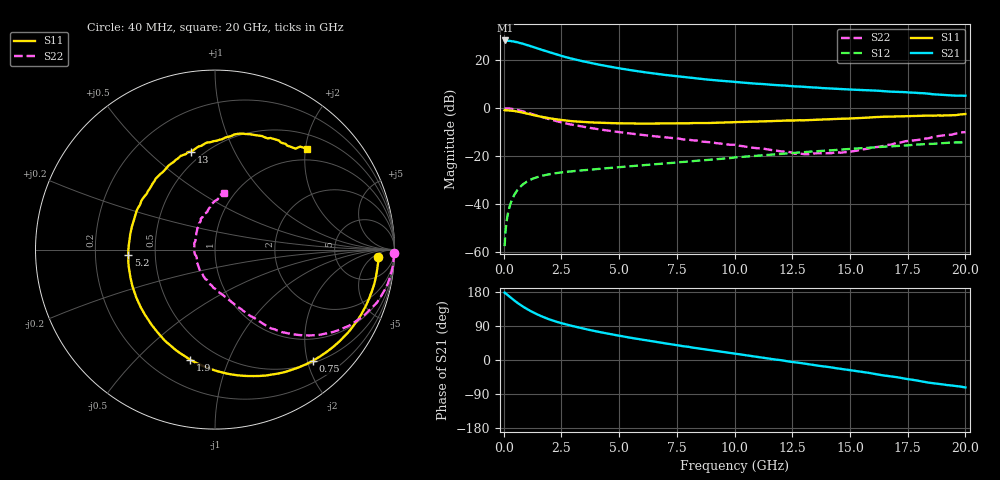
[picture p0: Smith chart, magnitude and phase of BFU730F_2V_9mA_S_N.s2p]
! Filename:  P:\Prog\Test\Noise\ATS_data\Testdata_Net\BFU730\BFU730_2W_B1_2V9mA_D.s2p
! Date/Time: Fri 29/Apr/2011 14:14:07
! BFU730_2W_B1_2V9mA
! bias mode 1: Vout= 2.0001 V, Iout= 9.0050 mA, Vin= 0.8011 V, Iin= 0.0279 mA
! Date/time Wed Mar 16 17:04:01 2011
! Device data file deembeded for feedlines and parallel
! Original file: \BFU730\BFU730_2W_B1_2V9mA_R.s2p
! Feed-files: PR003V01_101208_Feed1.s2p, PR003V01_101208_Feed2.s2p
! Parallel-file: PR003V01_101208_Par.s2p
# MHz S MA R 50
!  Freq-MHz  S11-mag  S11-arg  S21-mag  S21-arg  S12-mag  S12-arg  S22-mag  S22-arg
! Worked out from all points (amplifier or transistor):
!   167 points, 40 MHz to 20 GHz, reference 50 ohm
!   highest |S21| = 28.2 dB at 50 MHz (marker M1)
!   |S21| within 3 dB of that: start of sweep to 1.373 GHz
!   unconditionally stable (mu >= 1): 5.839 GHz to 15.93 GHz
!   at 550 MHz: K = 0.11, MSG = 31.1 dB, |S12| = -34.7 dB
!   at 4.2 GHz: K = 0.81, MSG = 21.6 dB, |S12| = -25.1 dB
!   at 20 GHz: K = 0.85, MSG = 9.7 dB, |S12| = -14.1 dB
!   lowest NFmin = 0.57 dB at 400 MHz
!   S11 on the Smith chart (normalised r, x): 40 MHz: 17, -9; 750 MHz: 0.54, -2.10; 1.9 GHz: 0.36, -0.73; 5.2 GHz: 0.35, -0.03; 13 GHz: 0.43, +0.69; 20 GHz: 0.77, +2.03
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40  0.9114 -2.7  25.65 177.9  0.001353 87.4  0.9961 -1.2
50  0.9064 -3.6  25.72 176.9  0.001661 71.7  0.9961 -1.7
60  0.9109 -3.8  25.4 176.6  0.001883 88.5  0.9971 -2.0
80  0.911 -5.3  25.64 175.9  0.002782 87.0  0.9971 -2.8
240  0.9021 -16.2  25.33 167.7  0.008403 82.2  0.987 -9.1
420  0.8812 -28.2  24.6 158.9  0.01448 75.7  0.9604 -15.8
600  0.8522 -39.7  23.59 150.7  0.01997 69.5  0.9207 -22.1
750  0.8252 -48.7  22.5 144.4  0.02398 64.7  0.8818 -26.8
950  0.7864 -60.1  21.1 136.7  0.0286 59.3  0.8285 -32.3
1200  0.7368 -73.0  19.38 128.1  0.0333 53.5  0.7634 -38.1
1550  0.6773 -89.0  17.07 117.7  0.03816 47.3  0.6788 -44.6
1900  0.6283 -102.7  15.07 109.0  0.04173 42.7  0.6081 -49.7
2500  0.5688 -122.1  12.27 97.3  0.04633 37.6  0.5084 -56.1
3400  0.5198 -144.2  9.568 83.6  0.05119 33.2  0.4174 -62.1
4200  0.4978 -160.2  7.954 73.2  0.05529 31.2  0.3601 -66.5
5200  0.484 -176.7  6.53 61.9  0.06061 29.1  0.3102 -72.0
6800  0.4803 162.1  5.076 45.9  0.06976 26.5  0.2541 -80.9
10200  0.5173 127.7  3.478 14.9  0.09631 18.4  0.166 -110.8
13000  0.5618 103.6  2.788 -9.3  0.1217 7.0  0.1112 -156.6
13400  0.5736 100.8  2.71 -12.9  0.1264 5.0  0.1145 -166.6
16800  0.6715 73.3  2.212 -43.3  0.1614 -12.7  0.1763 116.9
20000  0.7592 47.6  1.821 -72.6  0.1967 -33.5  0.3208 81.3
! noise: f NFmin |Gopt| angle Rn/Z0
400  0.5682  0.3463  4.23  0.1289
850  0.5786  0.3233  14.08  0.1278
1450  0.5945  0.3004  26.87  0.125
2100  0.6144  0.2813  40.07  0.1205
2900  0.6429  0.2608  55.58  0.1134
4200  0.6983  0.2277  81.18  0.1
5800  0.7821  0.1985  118.9  0.0844
8400  0.9549  0.2506  182.6  0.0757
1.12e+04  1.192  0.3776  225.3  0.1143
1.4e+04  1.482  0.4844  265.4  0.2334
